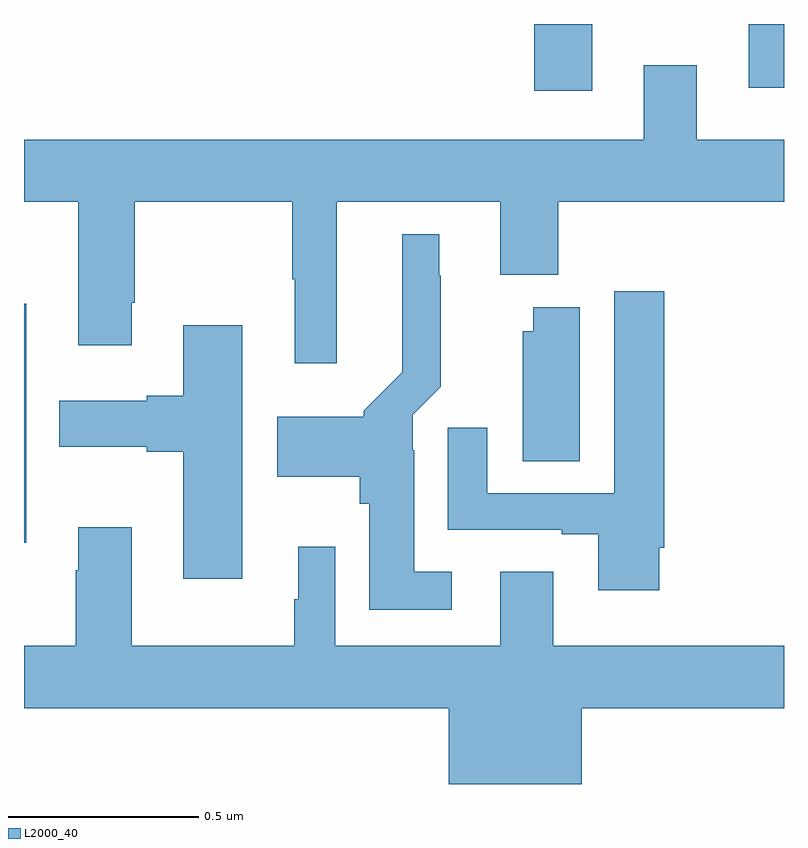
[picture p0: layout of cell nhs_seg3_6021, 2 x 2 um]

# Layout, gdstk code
import gdstk
lib = gdstk.Library(unit=1e-6, precision=1e-09)
def R(c, l, rs):  # rectangles x0, y0, x1, y1
    for r in rs: c.add(gdstk.rectangle(r[:2], r[2:], *l))
def P(c, l, *ps):  # polygons
    for p in ps: c.add(gdstk.Polygon(p, *l))
L2000_40 = (2000, 40)

nhs_seg3_6021 = lib.new_cell('nhs_seg3_6021')
R(nhs_seg3_6021, L2000_40, [(186,684.035,186.006,684.664), (187.343,685.224,187.495,685.4), (187.907,685.232,188,685.4)])
P(nhs_seg3_6021, L2000_40, [(186.823,684.932),(187.253,684.932),(187.253,684.74),(187.406,684.74),(187.406,684.932),(188,684.932),(188,685.096),(187.771,685.096),(187.771,685.291),(187.631,685.291),(187.631,685.096),(186,685.096),(186,684.932),(186.143,684.932),(186.143,684.555),(186.283,684.555),(186.283,684.667),(186.291,684.667),(186.291,684.932),(186.706,684.932),(186.706,684.728),(186.713,684.728),(186.713,684.507),(186.823,684.507)],
  [(187.126,683.959),(187.027,683.959),(187.027,684.278),(187.023,684.278),(187.023,684.372),(187.097,684.446),(187.097,684.737),(187.093,684.737),(187.093,684.847),(186.995,684.847),(186.995,684.586),(186.996,684.586),(186.996,684.484),(186.894,684.382),(186.894,684.367),(186.666,684.367),(186.666,684.209),(186.883,684.209),(186.883,684.138),(186.908,684.138),(186.908,683.858),(187.126,683.858)],
  [(187.672,684.022),(187.685,684.022),(187.685,684.697),(187.553,684.697),(187.553,684.165),(187.219,684.165),(187.219,684.337),(187.115,684.337),(187.115,684.069),(187.415,684.069),(187.415,684.057),(187.511,684.057),(187.511,683.91),(187.672,683.91)],
  [(187.462,684.655),(187.34,684.655),(187.34,684.591),(187.313,684.591),(187.313,684.25),(187.462,684.25)],
  [(186.574,684.607),(186.419,684.607),(186.419,684.422),(186.323,684.422),(186.323,684.409),(186.093,684.409),(186.093,684.287),(186.323,684.287),(186.323,684.275),(186.419,684.275),(186.419,683.94),(186.574,683.94)],
  [(187.468,683.6),(188,683.6),(188,683.764),(187.393,683.764),(187.393,683.959),(187.253,683.959),(187.253,683.764),(186.819,683.764),(186.819,684.025),(186.722,684.025),(186.722,683.886),(186.711,683.886),(186.711,683.764),(186.283,683.764),(186.283,684.076),(186.143,684.076),(186.143,683.963),(186.136,683.963),(186.136,683.764),(186,683.764),(186,683.6),(187.118,683.6),(187.118,683.4),(187.468,683.4)])

lib.write_gds('nhs_seg3_6021.gds')
